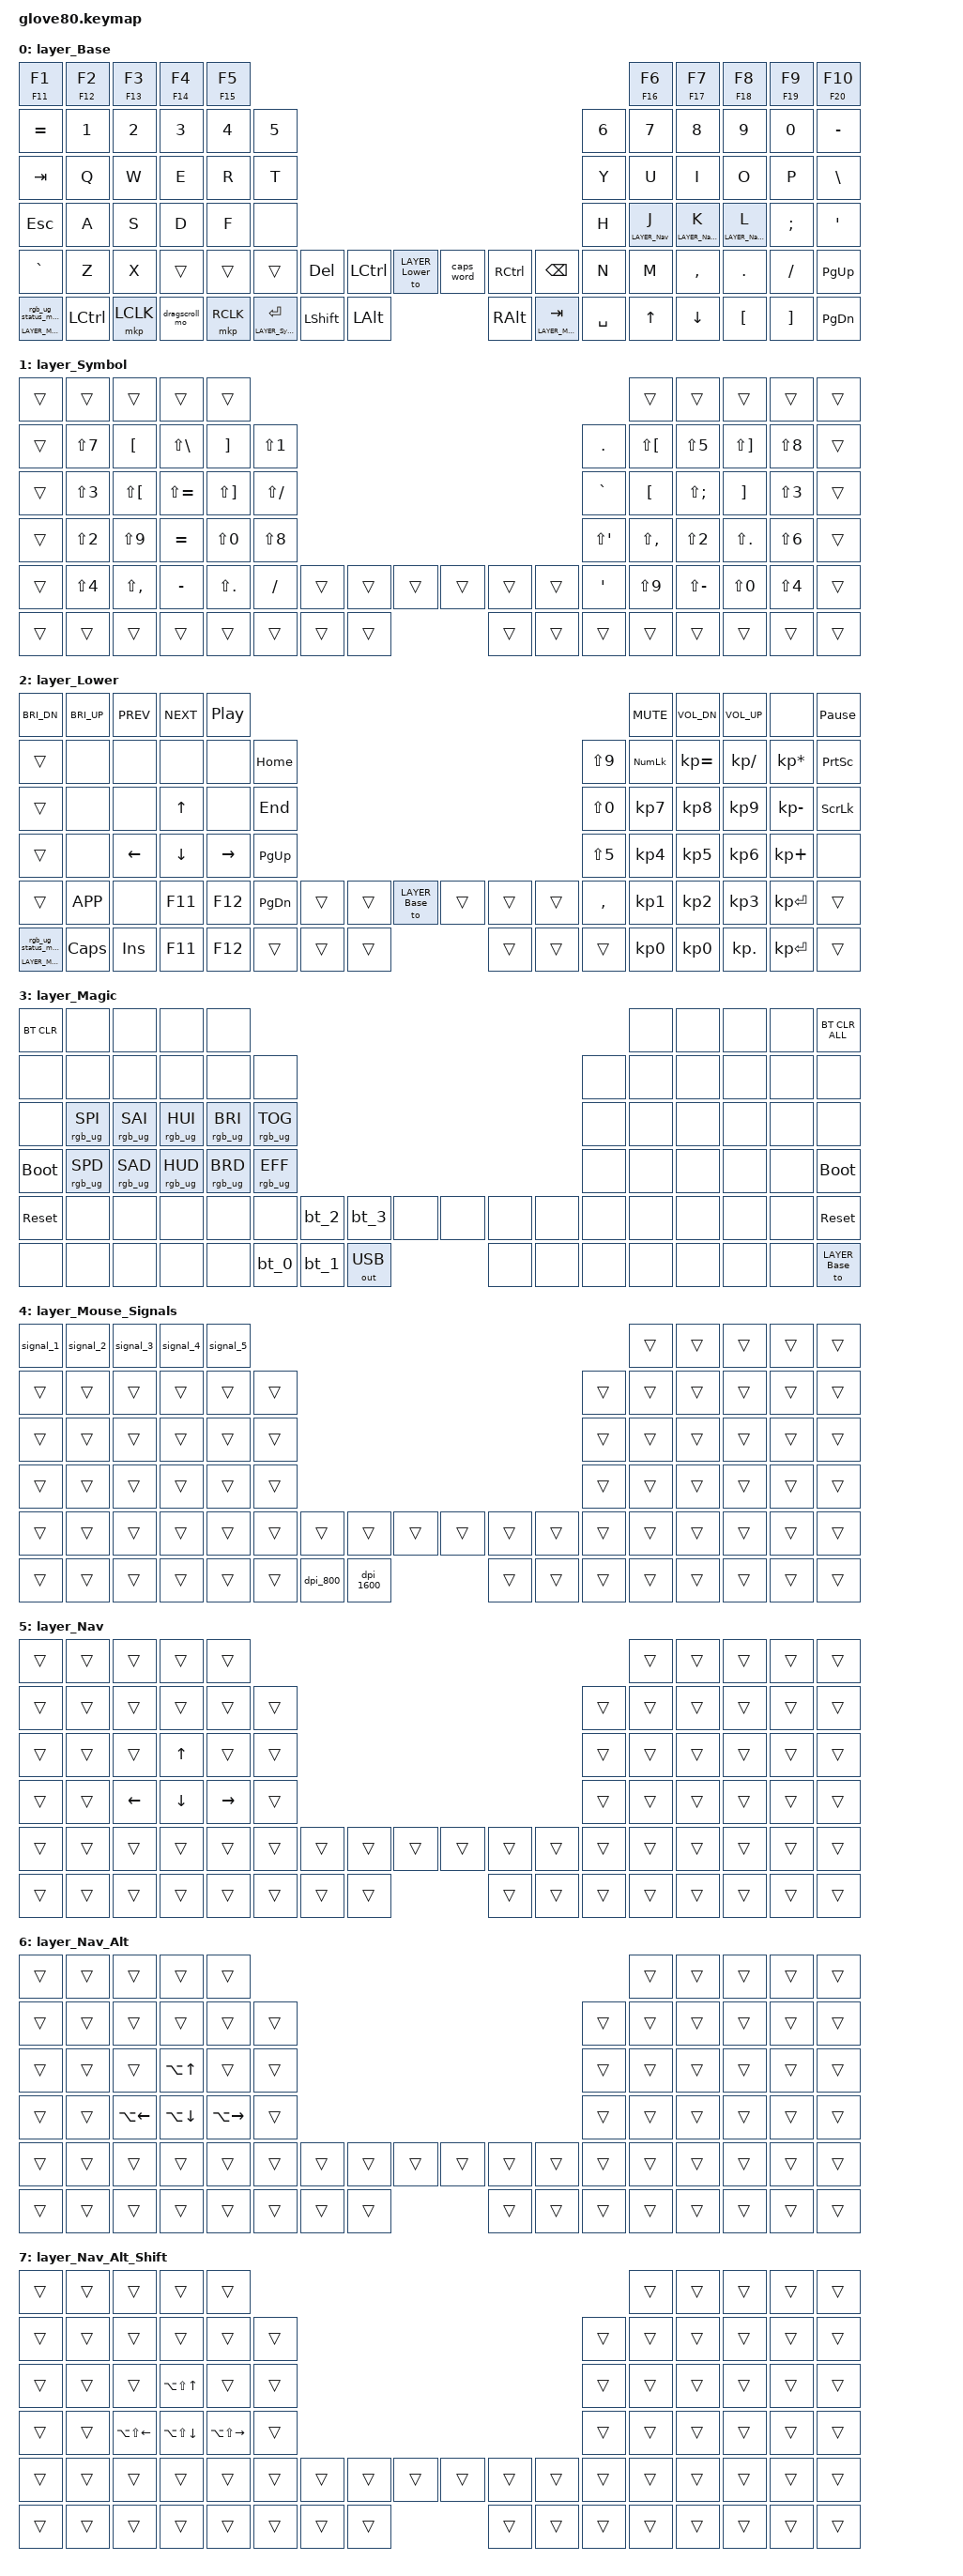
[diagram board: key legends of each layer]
/*
 * Copyright (c) 2020 The ZMK Contributors
 * Copyright (c) 2025 Innaworks Development Limited, trading as MoErgo
 *
 * SPDX-License-Identifier: MIT
 */


/* THIS FILE WAS GENERATED BY GLOVE80 LAYOUT EDITOR
 *
 * This file was generated automatically. You may or may not want to
 * edit it directly.
 */

#include <behaviors.dtsi>
/* Include all behavior includes needed */
#include <dt-bindings/zmk/outputs.h>
#include <dt-bindings/zmk/keys.h>
#include <dt-bindings/zmk/bt.h>
#include <dt-bindings/zmk/rgb.h>

/* On demand includes */
#include <dt-bindings/zmk/pointing.h>
#include <input/processors.dtsi>

/* Helper Macros, based on https://github.com/urob/zmk-helpers/ */

#pragma once

#define ZMK_HELPER_STRINGIFY(x) #x

// Preprocessor mechanism to overload macros, cf. https://stackoverflow.com/a/27051616/6114651
#define VARGS_(_10, _9, _8, _7, _6, _5, _4, _3, _2, _1, N, ...) N
#define VARGS(...) VARGS_(__VA_ARGS__, 10, 9, 8, 7, 6, 5, 4, 3, 2, 1, 0)
#define CONCAT_(a, b) a##b
#define CONCAT(a, b) CONCAT_(a, b)

#define ZMK_BEHAVIOR_CORE_tap_dance  \
    compatible = "zmk,behavior-tap-dance"; \
    #binding-cells = <0>

#define ZMK_BEHAVIOR(name, type, ...) \
    name: name { \
        ZMK_BEHAVIOR_CORE_ ## type; \
        __VA_ARGS__ \
    };

#define ZMK_TAP_DANCE(name, ...) \
    ZMK_BEHAVIOR(name, tap_dance, __VA_ARGS__)

#define ZMK_TD_LAYER(name, layer) \
    ZMK_TAP_DANCE(name, \
        tapping-term-ms = <200>; \
        bindings = <&mo layer>, <&to layer>; \
)

/* Environment and metadata defines */
#define KB_TYPE_GLOVE_80 1
#define KB_TYPE_GO_60    2

#define KB_TYPE          KB_TYPE_GLOVE_80
#define EDITOR_LAYOUT_OS 'W'
#define EDITOR_HOST_OS   'M'

/* Automatically generated layer name defines */
#define LAYER_Base 0
#define LAYER_Symbol 1
#define LAYER_Lower 2
#define LAYER_Magic 3
#define LAYER_Mouse_Signals 4
#define LAYER_Nav 5
#define LAYER_Nav_Alt 6
#define LAYER_Nav_Alt_Shift 7

/* To deal with the situation where there is no Lower layer, to keep &lower happy */
#ifndef LAYER_Lower
#define LAYER_Lower 0
#endif

/* Custom Device-tree */


/* Input Listeners */
&mmv_input_listener {
};

/* System behavior and Macros */
/ {
    behaviors {
        ZMK_TD_LAYER(lower, LAYER_Lower)
    };
};

/ {
    macros {
        rgb_ug_status_macro: rgb_ug_status_macro {
            label = "RGB_UG_STATUS";
            compatible = "zmk,behavior-macro";
            #binding-cells = <0>;
            bindings
                = <&rgb_ug RGB_STATUS>;
        };
    };
};


/ {
#ifdef BT_DISC_CMD
    behaviors {
        bt_0: bt_0 {
            compatible = "zmk,behavior-tap-dance";
            label = "BT_0";
            #binding-cells = <0>;
            tapping-term-ms = <200>;
            bindings = <&bt_select_0>, <&bt BT_DISC 0>;
        };
        bt_1: bt_1 {
            compatible = "zmk,behavior-tap-dance";
            label = "BT_1";
            #binding-cells = <0>;
            tapping-term-ms = <200>;
            bindings = <&bt_select_1>, <&bt BT_DISC 1>;
        };
        bt_2: bt_2 {
            compatible = "zmk,behavior-tap-dance";
            label = "BT_2";
            #binding-cells = <0>;
            tapping-term-ms = <200>;
            bindings = <&bt_select_2>, <&bt BT_DISC 2>;
        };
        bt_3: bt_3 {
            compatible = "zmk,behavior-tap-dance";
            label = "BT_3";
            #binding-cells = <0>;
            tapping-term-ms = <200>;
            bindings = <&bt_select_3>, <&bt BT_DISC 3>;
        };
    };
    macros {
        bt_select_0: bt_select_0 {
            label = "BT_SELECT_0";
            compatible = "zmk,behavior-macro";
            #binding-cells = <0>;
            bindings
                = <&out OUT_BLE>,
                  <&bt BT_SEL 0>;
        };
        bt_select_1: bt_select_1 {
            label = "BT_SELECT_1";
            compatible = "zmk,behavior-macro";
            #binding-cells = <0>;
            bindings
                = <&out OUT_BLE>,
                  <&bt BT_SEL 1>;
        };
        bt_select_2: bt_select_2 {
            label = "BT_SELECT_2";
            compatible = "zmk,behavior-macro";
            #binding-cells = <0>;
            bindings
                = <&out OUT_BLE>,
                  <&bt BT_SEL 2>;
        };
        bt_select_3: bt_select_3 {
            label = "BT_SELECT_3";
            compatible = "zmk,behavior-macro";
            #binding-cells = <0>;
            bindings
                = <&out OUT_BLE>,
                  <&bt BT_SEL 3>;
        };
    };
#else
    macros {
        bt_0: bt_0 {
            label = "BT_0";
            compatible = "zmk,behavior-macro";
            #binding-cells = <0>;
            bindings
                = <&out OUT_BLE>,
                  <&bt BT_SEL 0>;
        };
        bt_1: bt_1 {
            label = "BT_1";
            compatible = "zmk,behavior-macro";
            #binding-cells = <0>;
            bindings
                = <&out OUT_BLE>,
                  <&bt BT_SEL 1>;
        };
        bt_2: bt_2 {
            label = "BT_2";
            compatible = "zmk,behavior-macro";
            #binding-cells = <0>;
            bindings
                = <&out OUT_BLE>,
                  <&bt BT_SEL 2>;
        };
        bt_3: bt_3 {
            label = "BT_3";
            compatible = "zmk,behavior-macro";
            #binding-cells = <0>;
            bindings
                = <&out OUT_BLE>,
                  <&bt BT_SEL 3>;
        };
    };
#endif
};

/ {
    behaviors {
        magic: magic {
            compatible = "zmk,behavior-hold-tap";
            label = "MAGIC_HOLD_TAP";
            #binding-cells = <2>;
            flavor = "tap-preferred";
            tapping-term-ms = <200>;
            bindings = <&mo>, <&rgb_ug_status_macro>;
        };
    };
};


/* Key positions */

#define POS_LH_C6R1 0
#define POS_LH_C5R1 1
#define POS_LH_C4R1 2
#define POS_LH_C3R1 3
#define POS_LH_C2R1 4
#define POS_RH_C2R1 5
#define POS_RH_C3R1 6
#define POS_RH_C4R1 7
#define POS_RH_C5R1 8
#define POS_RH_C6R1 9
#define POS_LH_C6R2 10
#define POS_LH_C5R2 11
#define POS_LH_C4R2 12
#define POS_LH_C3R2 13
#define POS_LH_C2R2 14
#define POS_LH_C1R2 15
#define POS_RH_C1R2 16
#define POS_RH_C2R2 17
#define POS_RH_C3R2 18
#define POS_RH_C4R2 19
#define POS_RH_C5R2 20
#define POS_RH_C6R2 21
#define POS_LH_C6R3 22
#define POS_LH_C5R3 23
#define POS_LH_C4R3 24
#define POS_LH_C3R3 25
#define POS_LH_C2R3 26
#define POS_LH_C1R3 27
#define POS_RH_C1R3 28
#define POS_RH_C2R3 29
#define POS_RH_C3R3 30
#define POS_RH_C4R3 31
#define POS_RH_C5R3 32
#define POS_RH_C6R3 33
#define POS_LH_C6R4 34
#define POS_LH_C5R4 35
#define POS_LH_C4R4 36
#define POS_LH_C3R4 37
#define POS_LH_C2R4 38
#define POS_LH_C1R4 39
#define POS_RH_C1R4 40
#define POS_RH_C2R4 41
#define POS_RH_C3R4 42
#define POS_RH_C4R4 43
#define POS_RH_C5R4 44
#define POS_RH_C6R4 45
#define POS_LH_C6R5 46
#define POS_LH_C5R5 47
#define POS_LH_C4R5 48
#define POS_LH_C3R5 49
#define POS_LH_C2R5 50
#define POS_LH_C1R5 51
#define POS_LH_T1 52
#define POS_LH_T2 53
#define POS_LH_T3 54
#define POS_RH_T3 55
#define POS_RH_T2 56
#define POS_RH_T1 57
#define POS_RH_C1R5 58
#define POS_RH_C2R5 59
#define POS_RH_C3R5 60
#define POS_RH_C4R5 61
#define POS_RH_C5R5 62
#define POS_RH_C6R5 63
#define POS_LH_C6R6 64
#define POS_LH_C5R6 65
#define POS_LH_C4R6 66
#define POS_LH_C3R6 67
#define POS_LH_C2R6 68
#define POS_LH_T4 69
#define POS_LH_T5 70
#define POS_LH_T6 71
#define POS_RH_T6 72
#define POS_RH_T5 73
#define POS_RH_T4 74
#define POS_RH_C2R6 75
#define POS_RH_C3R6 76
#define POS_RH_C4R6 77
#define POS_RH_C5R6 78
#define POS_RH_C6R6 79


/* Custom Defined Behaviors */
/ {
        dpi_800:  dpi_800  { 
            compatible = "zmk,behavior-hid-viz-emit-fixed"; 
            #binding-cells = <0>; 
            action = "core.pointing.dpi.set";   
            value = <800>;  
        };
        dpi_1600: dpi_1600 { 
            compatible = "zmk,behavior-hid-viz-emit-fixed"; 
            #binding-cells = <0>; 
            action = "core.pointing.dpi.set";   
            value = <1600>; 
        };
        snipe_on: snipe_on { 
            compatible = "zmk,behavior-hid-viz-emit-fixed"; 
            #binding-cells = <0>; 
            action = "core.pointing.snipe.set"; 
            value = <1>;    
        };
        snipe_off: snipe_off {
            compatible = "zmk,behavior-hid-viz-emit-fixed";
            #binding-cells = <0>;
            action = "core.pointing.snipe.set";
            value = <0>;
        };
        snipe_mo: snipe_mo {
            compatible = "zmk,behavior-macro";
            #binding-cells = <0>;
            bindings = <&snipe_on>, <&macro_pause_for_release>, <&snipe_off>;
        };
        signal_1: signal_1 {
            compatible = "zmk,behavior-hid-signal-fixed";
            #binding-cells = <0>;
            id = <1>;
        };
        signal_2: signal_2 {
            compatible = "zmk,behavior-hid-signal-fixed";
            #binding-cells = <0>;
            id = <2>;
        };
        signal_3: signal_3 {
            compatible = "zmk,behavior-hid-signal-fixed";
            #binding-cells = <0>;
            id = <3>;
        };
        signal_4: signal_4 {
            compatible = "zmk,behavior-hid-signal-fixed";
            #binding-cells = <0>;
            id = <4>;
        };
        signal_5: signal_5 {
            compatible = "zmk,behavior-hid-signal-fixed";
            #binding-cells = <0>;
            id = <5>;
        };
        dragscroll_on: dragscroll_on { 
            compatible = "zmk,behavior-hid-viz-emit-fixed"; 
            #binding-cells = <0>; 
            action = "core.pointing.dragScroll.set"; 
            value = <1>;    
        };
        dragscroll_off: dragscroll_off {
            compatible = "zmk,behavior-hid-viz-emit-fixed";
            #binding-cells = <0>;
            action = "core.pointing.dragScroll.set";
            value = <0>;
        };
        dragscroll_mo: dragscroll_mo {
            compatible = "zmk,behavior-macro";
            #binding-cells = <0>;
            bindings = <&dragscroll_on>, <&macro_pause_for_release>, <&dragscroll_off>;
        };

};

/* Generated input processors */


/* Automatically generated macro definitions */
/ {
    macros {

        // Switch to layer with extra key for layer tracking/switching
        Tolayer: Tolayer {
            label = "&TOLAYER";
            compatible = "zmk,behavior-macro-two-param";
            #binding-cells = <2>;
            bindings = <&macro_press>
                , <&macro_param_1to1>
                , <&to MACRO_PLACEHOLDER>
                , <&macro_param_2to1>
                , <&kp MACRO_PLACEHOLDER>;
        };

        // Momentary layer with extra key for layer tracking/switching
        Molayer: Molayer {
            label = "&MOLAYER";
            compatible = "zmk,behavior-macro-two-param";
            #binding-cells = <2>;
            bindings = <&macro_press>
                , <&macro_param_1to1>
                , <&mo MACRO_PLACEHOLDER>
                , <&macro_param_2to1>
                , <&kp MACRO_PLACEHOLDER>
                , <&macro_pause_for_release>
                , <&macro_release>
                , <&macro_param_1to1>
                , <&mo MACRO_PLACEHOLDER>
                , <&macro_param_2to1>
                , <&kp MACRO_PLACEHOLDER>;
        };
    };
};

/* Automatically generated behavior definitions */
/ {
    behaviors {


    };
};

/* Automatically generated combos definitions */
/ {
    combos {
        compatible = "zmk,combos";

        combo_snipe3 {
            key-positions = <POS_LH_C4R6 POS_LH_C2R6>;
            bindings = <&snipe_mo>;
        };
    };
};

/* Automatically generated keymap */
/ {
    keymap {
        compatible = "zmk,keymap";


        layer_Base {
            bindings = <
           &mt F11 F1  &mt F12 F2  &mt F13 F3      &mt F14 F4  &mt F15 F5                                                                                                                             &mt F16 F6           &mt F17 F7                 &mt F18 F8  &mt F19 F9  &mt F20 F10
            &kp EQUAL      &kp N1      &kp N2          &kp N3      &kp N4  &kp N5                                                                                                        &kp N6           &kp N7               &kp N8                     &kp N9      &kp N0    &kp MINUS
              &kp TAB       &kp Q       &kp W           &kp E       &kp R   &kp T                                                                                                         &kp Y            &kp U                &kp I                      &kp O       &kp P     &kp BSLH
              &kp ESC       &kp A       &kp S           &kp D       &kp F   &none                                                                                                         &kp H  &lt LAYER_Nav J  &lt LAYER_Nav_Alt K  &lt LAYER_Nav_Alt_Shift L    &kp SEMI      &kp SQT
            &kp GRAVE       &kp Z       &kp X           &trans      &trans  &trans              &kp DEL  &kp LCTRL  &to LAYER_Lower  &caps_word                    &kp RCTRL   &kp BSPC   &kp N            &kp M            &kp COMMA                    &kp DOT    &kp FSLH    &kp PG_UP
 &magic LAYER_Magic 0   &kp LCTRL   &mkp LCLK  &dragscroll_mo   &mkp RCLK          &lt LAYER_Symbol RET  &kp LSHFT         &kp LALT    &kp RALT  &lt LAYER_Mouse_Signals TAB  &kp SPACE                   &kp UP             &kp DOWN                   &kp LBKT    &kp RBKT    &kp PG_DN
            >;
        };

        layer_Symbol {
            bindings = <
 &trans      &trans         &trans         &trans        &trans                                                                                    &trans         &trans        &trans      &trans  &trans
 &trans  &kp LS(N7)       &kp LBKT   &kp LS(BSLH)      &kp RBKT    &kp LS(N1)                                                      &kp DOT   &kp LS(LBKT)     &kp LS(N5)  &kp LS(RBKT)  &kp LS(N8)  &trans
 &trans  &kp LS(N3)   &kp LS(LBKT)  &kp LS(EQUAL)  &kp LS(RBKT)  &kp LS(FSLH)                                                    &kp GRAVE       &kp LBKT   &kp LS(SEMI)      &kp RBKT  &kp LS(N3)  &trans
 &trans  &kp LS(N2)     &kp LS(N9)      &kp EQUAL    &kp LS(N0)    &kp LS(N8)                                                  &kp LS(SQT)  &kp LS(COMMA)     &kp LS(N2)   &kp LS(DOT)  &kp LS(N6)  &trans
 &trans  &kp LS(N4)  &kp LS(COMMA)      &kp MINUS   &kp LS(DOT)      &kp FSLH  &trans  &trans  &trans  &trans  &trans  &trans      &kp SQT     &kp LS(N9)  &kp LS(MINUS)    &kp LS(N0)  &kp LS(N4)  &trans
 &trans      &trans         &trans         &trans        &trans                &trans  &trans  &trans  &trans  &trans  &trans                      &trans         &trans        &trans      &trans  &trans
            >;
        };

        layer_Lower {
            bindings = <
         &kp C_BRI_DN  &kp C_BRI_UP      &kp C_PREV      &kp C_NEXT         &kp C_PP                                                                                 &kp C_MUTE  &kp C_VOL_DN  &kp C_VOL_UP            &none  &kp PAUSE_BREAK
               &trans         &none           &none           &none            &none   &kp HOME                                                          &kp LS(N9)  &kp KP_NUM  &kp KP_EQUAL  &kp KP_SLASH  &kp KP_MULTIPLY  &kp PRINTSCREEN
               &trans         &none           &none    &kp UP_ARROW            &none    &kp END                                                          &kp LS(N0)   &kp KP_N7     &kp KP_N8     &kp KP_N9     &kp KP_MINUS   &kp SCROLLLOCK
               &trans         &none  &kp LEFT_ARROW  &kp DOWN_ARROW  &kp RIGHT_ARROW  &kp PG_UP                                                          &kp LS(N5)   &kp KP_N4     &kp KP_N5     &kp KP_N6      &kp KP_PLUS            &none
               &trans     &kp K_APP           &none         &kp F11          &kp F12  &kp PG_DN  &trans  &trans  &to LAYER_Base  &trans  &trans  &trans   &kp COMMA   &kp KP_N1     &kp KP_N2     &kp KP_N3     &kp KP_ENTER           &trans
 &magic LAYER_Magic 0      &kp CAPS         &kp INS         &kp F11          &kp F12             &trans  &trans          &trans  &trans  &trans  &trans               &kp KP_N0     &kp KP_N0    &kp KP_DOT     &kp KP_ENTER           &trans
            >;
        };

        layer_Magic {
            bindings = <
  &bt BT_CLR            &none            &none            &none            &none                                                                                  &none   &none   &none   &none  &bt BT_CLR_ALL
       &none            &none            &none            &none            &none            &none                                                         &none   &none   &none   &none   &none           &none
       &none  &rgb_ug RGB_SPI  &rgb_ug RGB_SAI  &rgb_ug RGB_HUI  &rgb_ug RGB_BRI  &rgb_ug RGB_TOG                                                         &none   &none   &none   &none   &none           &none
 &bootloader  &rgb_ug RGB_SPD  &rgb_ug RGB_SAD  &rgb_ug RGB_HUD  &rgb_ug RGB_BRD  &rgb_ug RGB_EFF                                                         &none   &none   &none   &none   &none     &bootloader
  &sys_reset            &none            &none            &none            &none            &none   &bt_2   &bt_3         &none   &none   &none   &none   &none   &none   &none   &none   &none      &sys_reset
       &none            &none            &none            &none            &none                    &bt_0   &bt_1  &out OUT_USB   &none   &none   &none           &none   &none   &none   &none  &to LAYER_Base
            >;
        };

        layer_Mouse_Signals {
            bindings = <
 &signal_1  &signal_2  &signal_3  &signal_4  &signal_5                                                                       &trans  &trans  &trans  &trans  &trans
    &trans     &trans     &trans     &trans     &trans  &trans                                                       &trans  &trans  &trans  &trans  &trans  &trans
    &trans     &trans     &trans     &trans     &trans  &trans                                                       &trans  &trans  &trans  &trans  &trans  &trans
    &trans     &trans     &trans     &trans     &trans  &trans                                                       &trans  &trans  &trans  &trans  &trans  &trans
    &trans     &trans     &trans     &trans     &trans  &trans  &trans    &trans     &trans  &trans  &trans  &trans  &trans  &trans  &trans  &trans  &trans  &trans
    &trans     &trans     &trans     &trans     &trans          &trans  &dpi_800  &dpi_1600  &trans  &trans  &trans          &trans  &trans  &trans  &trans  &trans
            >;
        };

        layer_Nav {
            bindings = <
 &trans  &trans    &trans    &trans     &trans                                                                  &trans  &trans  &trans  &trans  &trans
 &trans  &trans    &trans    &trans     &trans  &trans                                                  &trans  &trans  &trans  &trans  &trans  &trans
 &trans  &trans    &trans    &kp UP     &trans  &trans                                                  &trans  &trans  &trans  &trans  &trans  &trans
 &trans  &trans  &kp LEFT  &kp DOWN  &kp RIGHT  &trans                                                  &trans  &trans  &trans  &trans  &trans  &trans
 &trans  &trans    &trans    &trans     &trans  &trans  &trans  &trans  &trans  &trans  &trans  &trans  &trans  &trans  &trans  &trans  &trans  &trans
 &trans  &trans    &trans    &trans     &trans          &trans  &trans  &trans  &trans  &trans  &trans          &trans  &trans  &trans  &trans  &trans
            >;
        };

        layer_Nav_Alt {
            bindings = <
 &trans  &trans        &trans        &trans         &trans                                                                  &trans  &trans  &trans  &trans  &trans
 &trans  &trans        &trans        &trans         &trans  &trans                                                  &trans  &trans  &trans  &trans  &trans  &trans
 &trans  &trans        &trans    &kp LA(UP)         &trans  &trans                                                  &trans  &trans  &trans  &trans  &trans  &trans
 &trans  &trans  &kp LA(LEFT)  &kp LA(DOWN)  &kp LA(RIGHT)  &trans                                                  &trans  &trans  &trans  &trans  &trans  &trans
 &trans  &trans        &trans        &trans         &trans  &trans  &trans  &trans  &trans  &trans  &trans  &trans  &trans  &trans  &trans  &trans  &trans  &trans
 &trans  &trans        &trans        &trans         &trans          &trans  &trans  &trans  &trans  &trans  &trans          &trans  &trans  &trans  &trans  &trans
            >;
        };

        layer_Nav_Alt_Shift {
            bindings = <
 &trans  &trans            &trans            &trans             &trans                                                                  &trans  &trans  &trans  &trans  &trans
 &trans  &trans            &trans            &trans             &trans  &trans                                                  &trans  &trans  &trans  &trans  &trans  &trans
 &trans  &trans            &trans    &kp LA(LS(UP))             &trans  &trans                                                  &trans  &trans  &trans  &trans  &trans  &trans
 &trans  &trans  &kp LA(LS(LEFT))  &kp LA(LS(DOWN))  &kp LA(LS(RIGHT))  &trans                                                  &trans  &trans  &trans  &trans  &trans  &trans
 &trans  &trans            &trans            &trans             &trans  &trans  &trans  &trans  &trans  &trans  &trans  &trans  &trans  &trans  &trans  &trans  &trans  &trans
 &trans  &trans            &trans            &trans             &trans          &trans  &trans  &trans  &trans  &trans  &trans          &trans  &trans  &trans  &trans  &trans
            >;
        };

    };
};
